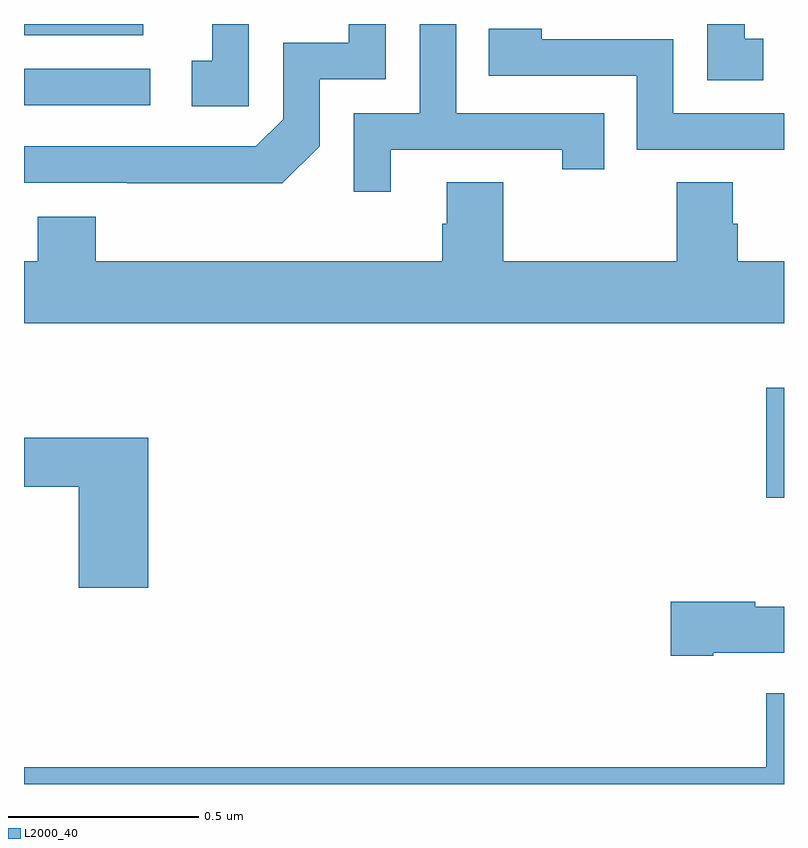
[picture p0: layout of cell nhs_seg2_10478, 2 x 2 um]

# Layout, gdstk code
import gdstk
lib = gdstk.Library(unit=1e-6, precision=1e-09)
def R(c, l, rs):  # rectangles x0, y0, x1, y1
    for r in rs: c.add(gdstk.rectangle(r[:2], r[2:], *l))
def P(c, l, *ps):  # polygons
    for p in ps: c.add(gdstk.Polygon(p, *l))
L2000_40 = (2000, 40)

nhs_seg2_10478 = lib.new_cell('nhs_seg2_10478')
R(nhs_seg2_10478, L2000_40, [(243.953,604.553,244,604.843), (242,605.586,242.332,605.682), (242,605.771,242.314,605.8)])
P(nhs_seg2_10478, L2000_40, [(242.778,605.478),(242.778,605.655),(242.952,605.655),(242.952,605.8),(242.855,605.8),(242.855,605.751),(242.682,605.751),(242.682,605.55),(242.61,605.478),(242,605.478),(242,605.382),(242.272,605.382),(242.272,605.381),(242.68,605.381)],
  [(242.965,605.469),(243.416,605.469),(243.416,605.418),(243.527,605.418),(243.527,605.565),(243.138,605.565),(243.138,605.8),(243.042,605.8),(243.042,605.565),(242.868,605.565),(242.868,605.358),(242.965,605.358)],
  [(243.946,605.761),(243.897,605.761),(243.897,605.8),(243.798,605.8),(243.798,605.652),(243.946,605.652)],
  [(242.592,605.8),(242.495,605.8),(242.495,605.703),(242.442,605.703),(242.442,605.583),(242.592,605.583)],
  [(244,605.565),(243.708,605.565),(243.708,605.76),(243.363,605.76),(243.363,605.787),(243.223,605.787),(243.223,605.664),(243.612,605.664),(243.612,605.469),(244,605.469)],
  [(244,605.176),(243.878,605.176),(243.878,605.274),(243.865,605.274),(243.865,605.384),(243.718,605.384),(243.718,605.176),(243.261,605.176),(243.261,605.384),(243.113,605.384),(243.113,605.274),(243.101,605.274),(243.101,605.176),(242.189,605.176),(242.189,605.293),(242.036,605.293),(242.036,605.176),(242,605.176),(242,605.012),(244,605.012)],
  [(242.327,604.711),(242,604.711),(242,604.582),(242.144,604.582),(242.144,604.317),(242.327,604.317)],
  [(243.814,604.145),(244,604.145),(244,604.267),(243.924,604.267),(243.924,604.28),(243.702,604.28),(243.702,604.138),(243.814,604.138)],
  [(244,604.039),(243.953,604.039),(243.953,603.844),(242,603.844),(242,603.8),(244,603.8)])

lib.write_gds('nhs_seg2_10478.gds')
